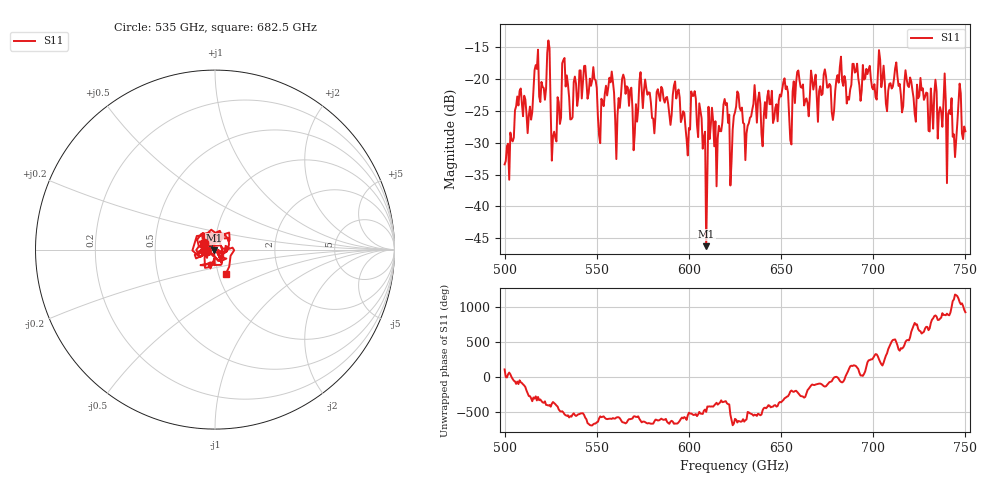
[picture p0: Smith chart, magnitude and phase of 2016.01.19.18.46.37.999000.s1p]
!Created with skrf (http://scikit-rf.org).
# GHz S RI R 50.0
!freq ReS11 ImS11
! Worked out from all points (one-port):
!   401 points, 500 GHz to 750 GHz, reference 50 ohm
!   lowest |S11| = -46.2 dB at 609.4 GHz (marker M1), VSWR 1.01, Z = 49.7 - j0.348 ohm
!   |S11| at or under -10 dB: start of sweep to end of sweep
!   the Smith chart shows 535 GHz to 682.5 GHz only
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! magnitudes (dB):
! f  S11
! 500 GHz  -33.4
! 507.5 GHz  -24.2
! 513.8 GHz  -24.4
! 516.9 GHz  -17.9
! 523.8 GHz  -14.0
! 526.9 GHz  -28.3
! 531.2 GHz  -17.6
! 551.9 GHz  -30.1
! 562.5 GHz  -24.6
! 571.2 GHz  -24.0
! 574.4 GHz  -21.6
! 580.6 GHz  -26.2
! 593.8 GHz  -22.1
! 599.4 GHz  -32.0
! 602.5 GHz  -22.7
! 609.4 GHz  -46.2
! 611.9 GHz  -27.2
! 616.2 GHz  -27.4
! 620 GHz  -24.1
! 622.5 GHz  -36.7
! 625 GHz  -25.2
! 631.2 GHz  -28.5
! 651.9 GHz  -19.9
! 656.2 GHz  -22.0
! 659.4 GHz  -18.7
! 687.5 GHz  -21.7
! 718.8 GHz  -21.1
! 750 GHz  -28.2
